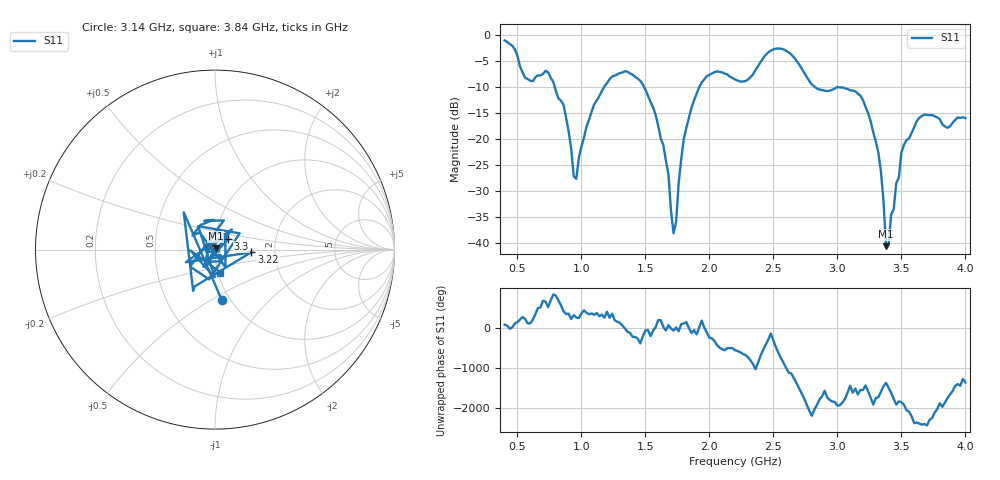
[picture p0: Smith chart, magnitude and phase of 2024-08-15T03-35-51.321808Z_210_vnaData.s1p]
!Created with skrf (http://scikit-rf.org).
# Hz S RI R 50.0
!freq ReS11 ImS11
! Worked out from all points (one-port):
!   181 points, 400 MHz to 4 GHz, reference 50 ohm
!   lowest |S11| = -40.7 dB at 3.38 GHz (marker M1), VSWR 1.02, Z = 50.5 + j0.808 ohm
!   |S11| at or under -10 dB: 791.2 MHz to 1.178 GHz (386.9 MHz wide, 39.3 % of centre); 1.489 GHz to 1.922 GHz (433.2 MHz wide, 25.4 % of centre); 2.823 GHz to end of sweep
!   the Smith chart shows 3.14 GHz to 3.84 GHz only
!   S11 on the Smith chart (normalised r, x): 3.14 GHz: 0.91, -0.56; 3.22 GHz: 1.51, -0.05; 3.3 GHz: 1.15, +0.14; 3.84 GHz: 1.03, -0.27
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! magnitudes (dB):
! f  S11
! 400 MHz  -1.1
! 560 MHz  -8.3
! 740 MHz  -7.2
! 860 MHz  -13.4
! 960 MHz  -27.7
! 1.1 GHz  -13.4
! 1.3 GHz  -7.4
! 1.56 GHz  -14.0
! 1.68 GHz  -26.9
! 1.72 GHz  -38.2
! 1.76 GHz  -28.5
! 1.8 GHz  -20.1
! 1.94 GHz  -9.1
! 2.2 GHz  -8.6
! 2.5 GHz  -2.8
! 2.66 GHz  -4.3
! 2.84 GHz  -10.3
! 3.1 GHz  -10.7
! 3.14 GHz  -10.9
! 3.22 GHz  -13.9
! 3.3 GHz  -20.5
! 3.34 GHz  -26.3
! 3.38 GHz  -40.7
! 3.5 GHz  -22.7
! 3.56 GHz  -19.9
! 3.68 GHz  -15.4
! 3.84 GHz  -17.6
! 4 GHz  -16.0
